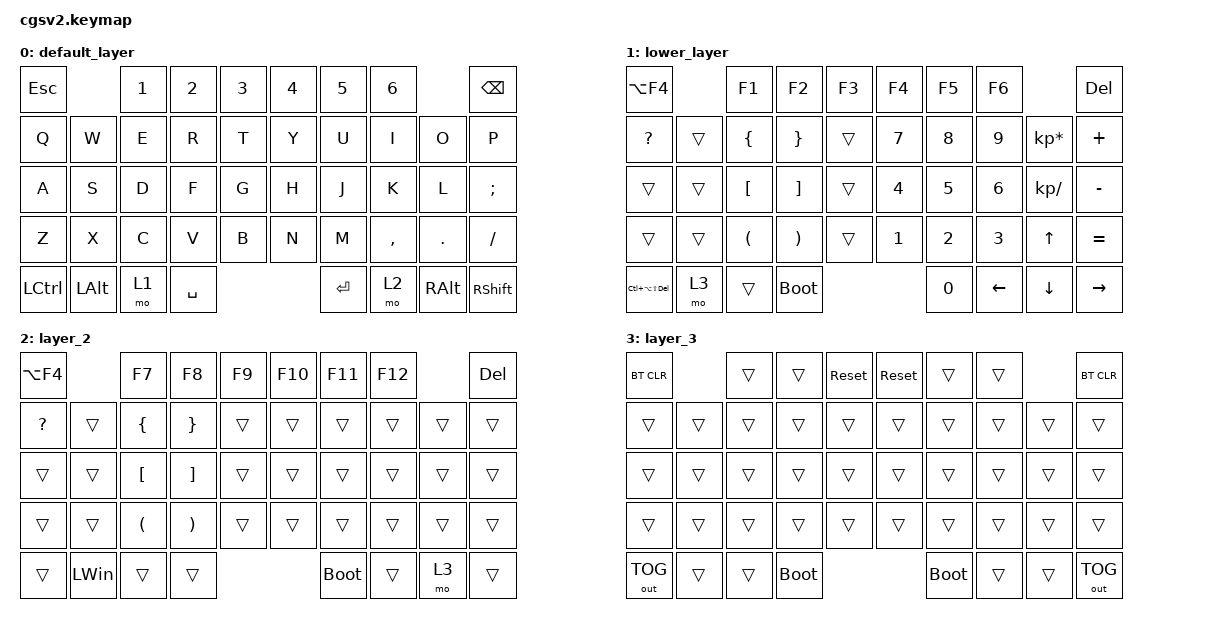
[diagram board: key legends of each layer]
/*
 * Copyright (c) 2021 The ZMK Contributors
 *
 * SPDX-License-Identifier: MIT
 */

#include <behaviors.dtsi>
#include <dt-bindings/zmk/bt.h>
#include <dt-bindings/zmk/keys.h>
#include <dt-bindings/zmk/outputs.h>

/ {
    keymap {
        compatible = "zmk,keymap";

        default_layer {
            bindings = <
&kp ESC              &kp N1  &kp N2     &kp N3  &kp N4  &kp N5   &kp N6               &kp BSPC
&kp Q      &kp W     &kp E   &kp R      &kp T   &kp Y   &kp U    &kp I      &kp O     &kp P
&kp A      &kp S     &kp D   &kp F      &kp G   &kp H   &kp J    &kp K      &kp L     &kp SEMI
&kp Z      &kp X     &kp C   &kp V      &kp B   &kp N   &kp M    &kp COMMA  &kp DOT   &kp FSLH
&kp LCTRL  &kp LALT  &mo 1   &kp SPACE                  &kp RET  &mo 2      &kp RALT  &kp RIGHT_SHIFT
            >;
        };

        lower_layer {
            bindings = <
&kp LA(F4)                      &kp F1                &kp F2                 &kp F3  &kp F4  &kp F5  &kp F6                           &kp DELETE
&kp QUESTION            &trans  &kp LEFT_BRACE        &kp RIGHT_BRACE        &trans  &kp N7  &kp N8  &kp N9          &kp KP_MULTIPLY  &kp PLUS
&trans                  &trans  &kp LEFT_BRACKET      &kp RIGHT_BRACKET      &trans  &kp N4  &kp N5  &kp N6          &kp KP_DIVIDE    &kp MINUS
&trans                  &trans  &kp LEFT_PARENTHESIS  &kp RIGHT_PARENTHESIS  &trans  &kp N1  &kp N2  &kp N3          &kp UP_ARROW     &kp EQUAL
&kp LC(LA(LS(DELETE)))  &mo 3   &trans                &bootloader                            &kp N0  &kp LEFT_ARROW  &kp DOWN_ARROW   &kp RIGHT
            >;
        };

        layer_2 {
            bindings = <
&kp LA(F4)                  &kp F7                &kp F8                 &kp F9  &kp F10  &kp F11      &kp F12          &kp DELETE
&kp QUESTION  &trans        &kp LEFT_BRACE        &kp RIGHT_BRACE        &trans  &trans   &trans       &trans   &trans  &trans
&trans        &trans        &kp LEFT_BRACKET      &kp RIGHT_BRACKET      &trans  &trans   &trans       &trans   &trans  &trans
&trans        &trans        &kp LEFT_PARENTHESIS  &kp RIGHT_PARENTHESIS  &trans  &trans   &trans       &trans   &trans  &trans
&trans        &kp LEFT_WIN  &trans                &trans                                  &bootloader  &trans   &mo 3   &trans
            >;
        };

        layer_3 {
            bindings = <
&bt BT_CLR            &trans  &trans       &sys_reset  &sys_reset  &trans       &trans          &bt BT_CLR
&trans        &trans  &trans  &trans       &trans      &trans      &trans       &trans  &trans  &trans
&trans        &trans  &trans  &trans       &trans      &trans      &trans       &trans  &trans  &trans
&trans        &trans  &trans  &trans       &trans      &trans      &trans       &trans  &trans  &trans
&out OUT_TOG  &trans  &trans  &bootloader                          &bootloader  &trans  &trans  &out OUT_TOG
            >;
        };
    };
};
